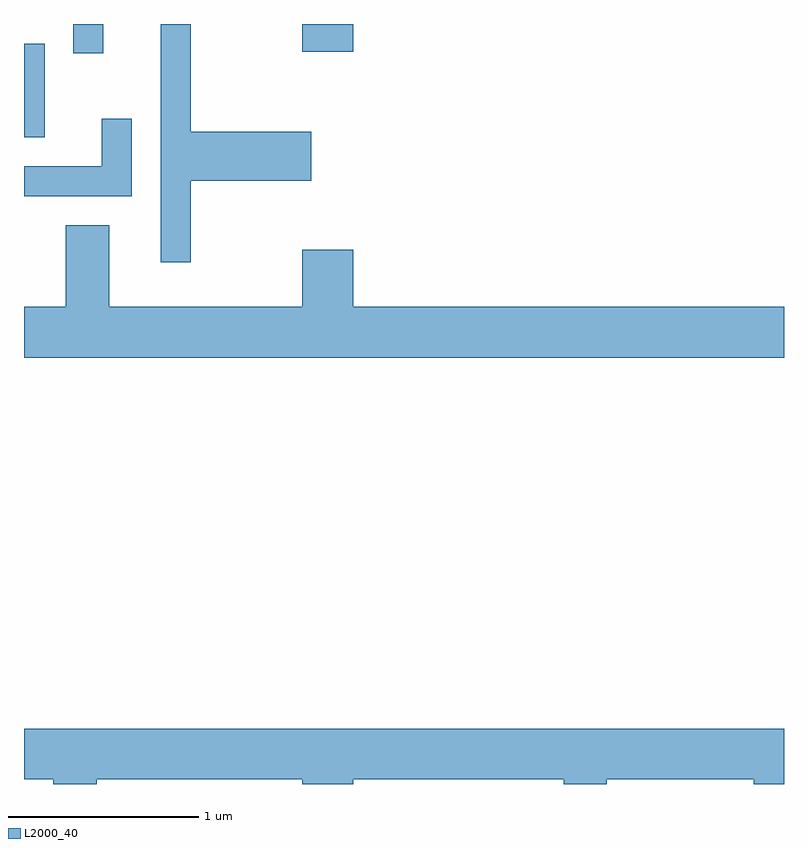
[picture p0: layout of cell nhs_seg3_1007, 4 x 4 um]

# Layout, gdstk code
import gdstk
lib = gdstk.Library(unit=1e-6, precision=1e-09)
def R(c, l, rs):  # rectangles x0, y0, x1, y1
    for r in rs: c.add(gdstk.rectangle(r[:2], r[2:], *l))
def P(c, l, *ps):  # polygons
    for p in ps: c.add(gdstk.Polygon(p, *l))
L2000_40 = (2000, 40)

nhs_seg3_1007 = lib.new_cell('nhs_seg3_1007')
R(nhs_seg3_1007, L2000_40, [(213.611,1229.296,213.719,1229.789), (213.871,1229.738,214.029,1229.892), (215.076,1229.746,215.344,1229.892)])
P(nhs_seg3_1007, L2000_40, [(214.489,1229.066),(215.124,1229.066),(215.124,1229.324),(214.489,1229.324),(214.489,1229.892),(214.331,1229.892),(214.331,1228.638),(214.489,1228.638)],
  [(214.179,1229.393),(214.021,1229.393),(214.021,1229.144),(213.611,1229.144),(213.611,1228.986),(214.179,1228.986)],
  [(217.611,1228.404),(215.344,1228.404),(215.344,1228.704),(215.076,1228.704),(215.076,1228.404),(214.059,1228.404),(214.059,1228.834),(213.831,1228.834),(213.831,1228.404),(213.611,1228.404),(213.611,1228.136),(217.611,1228.136)],
  [(213.994,1225.916),(215.076,1225.916),(215.076,1225.892),(215.344,1225.892),(215.344,1225.916),(216.451,1225.916),(216.451,1225.892),(216.679,1225.892),(216.679,1225.916),(217.451,1225.916),(217.451,1225.892),(217.611,1225.892),(217.611,1226.184),(213.611,1226.184),(213.611,1225.916),(213.766,1225.916),(213.766,1225.892),(213.994,1225.892)])

lib.write_gds('nhs_seg3_1007.gds')
